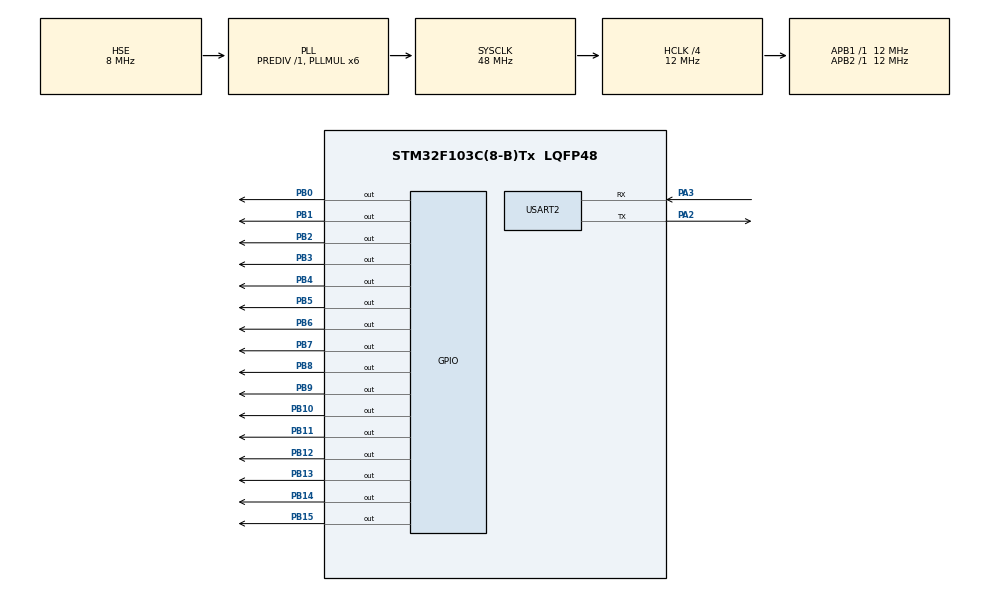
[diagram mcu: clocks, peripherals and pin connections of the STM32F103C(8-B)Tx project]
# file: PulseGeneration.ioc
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Dma.Request0=USART2_TX
Dma.USART2_TX.0.Direction=DMA_MEMORY_TO_PERIPH
Dma.USART2_TX.0.Instance=DMA1_Channel7
Dma.USART2_TX.0.MemDataAlignment=DMA_MDATAALIGN_BYTE
Dma.USART2_TX.0.MemInc=DMA_MINC_ENABLE
Dma.USART2_TX.0.Mode=DMA_NORMAL
Dma.USART2_TX.0.PeriphDataAlignment=DMA_PDATAALIGN_BYTE
Dma.USART2_TX.0.PeriphInc=DMA_PINC_DISABLE
Dma.USART2_TX.0.Priority=DMA_PRIORITY_MEDIUM
IWDG.Prescaler=IWDG_PRESCALER_32
IWDG.Reload=2500
Mcu.Family=STM32F1
Mcu.Name=STM32F103C(8-B)Tx
Mcu.Package=LQFP48
NVIC.DMA1_Channel7_IRQn=true\:0\:0\:false\:false\:true\:false\:true
NVIC.PriorityGroup=NVIC_PRIORITYGROUP_4
NVIC.TIM2_IRQn=true\:0\:0\:false\:false\:true\:true\:true
NVIC.TIM3_IRQn=true\:0\:0\:false\:false\:true\:true\:true
NVIC.TIM4_IRQn=true\:0\:0\:false\:false\:true\:true\:true
NVIC.USART2_IRQn=true\:0\:0\:false\:false\:true\:true\:true
PA13.Mode=Serial_Wire
PA13.Signal=SYS_JTMS-SWDIO
PA14.Mode=Serial_Wire
PA14.Signal=SYS_JTCK-SWCLK
PA2.Mode=Asynchronous
PA2.Signal=USART2_TX
PA3.Mode=Asynchronous
PA3.Signal=USART2_RX
PB0.GPIO_ModeDefaultOutputPP=GPIO_MODE_OUTPUT_OD
PB0.PinState=GPIO_PIN_SET
PB0.Signal=GPIO_Output
PB1.GPIO_ModeDefaultOutputPP=GPIO_MODE_OUTPUT_OD
PB1.PinState=GPIO_PIN_SET
PB1.Signal=GPIO_Output
PB10.GPIO_ModeDefaultOutputPP=GPIO_MODE_OUTPUT_OD
PB10.PinState=GPIO_PIN_SET
PB10.Signal=GPIO_Output
PB11.GPIO_ModeDefaultOutputPP=GPIO_MODE_OUTPUT_OD
PB11.PinState=GPIO_PIN_SET
PB11.Signal=GPIO_Output
PB12.GPIO_ModeDefaultOutputPP=GPIO_MODE_OUTPUT_OD
PB12.PinState=GPIO_PIN_SET
PB12.Signal=GPIO_Output
PB13.GPIO_ModeDefaultOutputPP=GPIO_MODE_OUTPUT_OD
PB13.PinState=GPIO_PIN_SET
PB13.Signal=GPIO_Output
PB14.GPIO_ModeDefaultOutputPP=GPIO_MODE_OUTPUT_OD
PB14.PinState=GPIO_PIN_SET
PB14.Signal=GPIO_Output
PB15.GPIO_ModeDefaultOutputPP=GPIO_MODE_OUTPUT_OD
PB15.PinState=GPIO_PIN_SET
PB15.Signal=GPIO_Output
PB2.GPIO_ModeDefaultOutputPP=GPIO_MODE_OUTPUT_OD
PB2.PinState=GPIO_PIN_SET
PB2.Signal=GPIO_Output
PB3.GPIO_ModeDefaultOutputPP=GPIO_MODE_OUTPUT_OD
PB3.PinState=GPIO_PIN_SET
PB3.Signal=GPIO_Output
PB4.GPIO_ModeDefaultOutputPP=GPIO_MODE_OUTPUT_OD
PB4.PinState=GPIO_PIN_SET
PB4.Signal=GPIO_Output
PB5.GPIO_ModeDefaultOutputPP=GPIO_MODE_OUTPUT_OD
PB5.PinState=GPIO_PIN_SET
PB5.Signal=GPIO_Output
PB6.GPIO_ModeDefaultOutputPP=GPIO_MODE_OUTPUT_OD
PB6.PinState=GPIO_PIN_SET
PB6.Signal=GPIO_Output
PB7.GPIO_ModeDefaultOutputPP=GPIO_MODE_OUTPUT_OD
PB7.PinState=GPIO_PIN_SET
PB7.Signal=GPIO_Output
PB8.GPIO_ModeDefaultOutputPP=GPIO_MODE_OUTPUT_OD
PB8.PinState=GPIO_PIN_SET
PB8.Signal=GPIO_Output
PB9.GPIO_ModeDefaultOutputPP=GPIO_MODE_OUTPUT_OD
PB9.PinState=GPIO_PIN_SET
PB9.Signal=GPIO_Output
PD0-OSC_IN.Mode=HSE-External-Oscillator
PD0-OSC_IN.Signal=RCC_OSC_IN
PD1-OSC_OUT.Mode=HSE-External-Oscillator
PD1-OSC_OUT.Signal=RCC_OSC_OUT
ProjectManager.HeapSize=0x200
ProjectManager.StackSize=0x400
ProjectManager.TargetToolchain=SW4STM32
RCC.AHBCLKDivider=RCC_SYSCLK_DIV4
RCC.AHBFreq_Value=12000000
RCC.APB1Freq_Value=12000000
RCC.APB1TimFreq_Value=12000000
RCC.APB2Freq_Value=12000000
RCC.APB2TimFreq_Value=12000000
RCC.HCLKFreq_Value=12000000
RCC.PLLMUL=RCC_PLL_MUL6
RCC.PLLSourceVirtual=RCC_PLLSOURCE_HSE
RCC.SYSCLKFreq_VALUE=48000000
RCC.SYSCLKSource=RCC_SYSCLKSOURCE_PLLCLK
RCC.USBFreq_Value=48000000
TIM2.Period=1000
TIM2.Prescaler=12-1
TIM3.Period=2000
TIM3.Prescaler=12000-1
TIM4.Period=5000
TIM4.Prescaler=12000-1
USART2.VirtualMode=VM_ASYNC
VP_IWDG_VS_IWDG.Mode=IWDG_Activate
VP_TIM2_VS_ClockSourceINT.Mode=Internal
VP_TIM3_VS_ClockSourceINT.Mode=Internal
VP_TIM4_VS_ClockSourceINT.Mode=Internal
board=custom

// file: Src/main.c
/* USER CODE BEGIN Header */
/**
  ******************************************************************************
  * @file           : main.c
  * @brief          : Main program body
  ******************************************************************************
  * @attention
  *
  * <h2><center>&copy; Copyright (c) 2020 STMicroelectronics.
  * All rights reserved.</center></h2>
  *
  * This software component is licensed by ST under Ultimate Liberty license
  * SLA0044, the "License"; You may not use this file except in compliance with
  * the License. You may obtain a copy of the License at:
  *                             www.st.com/SLA0044
  *
  ******************************************************************************
  */
/* USER CODE END Header */

#include "main.h"
#include "dma.h"
#include "iwdg.h"
#include "tim.h"
#include "usart.h"
#include "gpio.h"

/* USER CODE BEGIN Includes */
#include "Discrets.h"
#include "Fifo.h"
#include "Wrap_Flash.h"
#include "Internal_Flash.h"
#include "Commands.h"
/* USER CODE END Includes */

/* USER CODE BEGIN PM */

#define UART_FIFO_TX_SIZE                                1024
#define UART_FIFO_RX_SIZE                                1024
#define TASK_BEGIN_CRITICAL_SECTION()					 __disable_irq()
#define TASK_END_CRITICAL_SECTION()					 	 __enable_irq()
/* USER CODE END PM */

void SystemClock_Config(void);

/* USER CODE BEGIN 0 */
Fifo_t UartTx, UartRx;
uint8_t UartTxBuffer[UART_FIFO_TX_SIZE];
uint8_t UartRxBuffer[UART_FIFO_RX_SIZE];
uint8_t UartRxSymbol;
extern volatile bool IsStartMeasurement;
volatile uint32_t CounterSemaphore[DISCRETS_OUTPUTS_PINS];
volatile uint32_t CounterStateSemaphore[DISCRETS_OUTPUTS_PINS];
volatile uint8_t DiscretLineState[DISCRETS_OUTPUTS_PINS];
extern volatile FlashMapData_t GlobalStorage;
//volatile uint64_t UserQuantityStateLine[DISCRETS_OUTPUTS_PINS];
/* USER CODE END 0 */

int main(void)
{

  /* MCU Configuration--------------------------------------------------------*/

  /* Reset of all peripherals, Initializes the Flash interface and the Systick. */
  HAL_Init();

  /* Configure the system clock */
  SystemClock_Config();

  /* Initialize all configured peripherals */
  MX_GPIO_Init();
  MX_DMA_Init();
  MX_IWDG_Init();
  MX_TIM2_Init();
  MX_TIM3_Init();
  MX_USART2_UART_Init();
  MX_TIM4_Init();
  /* USER CODE BEGIN 2 */
  InitFifo();
  FlashInit();
  FlashStorageInit();
  StartParser();
  CommandStartMeasurement();
  /* USER CODE END 2 */

  /* Infinite loop */
  while (1)
  {

    /* USER CODE BEGIN 3 */
	  HAL_IWDG_Refresh(&hiwdg);
  }
  /* USER CODE END 3 */
}

void SystemClock_Config(void)
{
  RCC_OscInitTypeDef RCC_OscInitStruct = {0};
  RCC_ClkInitTypeDef RCC_ClkInitStruct = {0};

  /** Initializes the CPU, AHB and APB busses clocks
  */
  RCC_OscInitStruct.OscillatorType = RCC_OSCILLATORTYPE_LSI|RCC_OSCILLATORTYPE_HSE;
  RCC_OscInitStruct.HSEState = RCC_HSE_ON;
  RCC_OscInitStruct.HSEPredivValue = RCC_HSE_PREDIV_DIV1;
  RCC_OscInitStruct.HSIState = RCC_HSI_ON;
  RCC_OscInitStruct.LSIState = RCC_LSI_ON;
  RCC_OscInitStruct.PLL.PLLState = RCC_PLL_ON;
  RCC_OscInitStruct.PLL.PLLSource = RCC_PLLSOURCE_HSE;
  RCC_OscInitStruct.PLL.PLLMUL = RCC_PLL_MUL6;
  if (HAL_RCC_OscConfig(&RCC_OscInitStruct) != HAL_OK)
  {
    Error_Handler();
  }
  /** Initializes the CPU, AHB and APB busses clocks
  */
  RCC_ClkInitStruct.ClockType = RCC_CLOCKTYPE_HCLK|RCC_CLOCKTYPE_SYSCLK
                              |RCC_CLOCKTYPE_PCLK1|RCC_CLOCKTYPE_PCLK2;
  RCC_ClkInitStruct.SYSCLKSource = RCC_SYSCLKSOURCE_PLLCLK;
  RCC_ClkInitStruct.AHBCLKDivider = RCC_SYSCLK_DIV4;
  RCC_ClkInitStruct.APB1CLKDivider = RCC_HCLK_DIV1;
  RCC_ClkInitStruct.APB2CLKDivider = RCC_HCLK_DIV1;

  if (HAL_RCC_ClockConfig(&RCC_ClkInitStruct, FLASH_LATENCY_1) != HAL_OK)
  {
    Error_Handler();
  }
}

/* USER CODE BEGIN 4 */

/**
  * @brief  Period elapsed callback in non-blocking mode
  * @param  htim TIM handle
  * @retval None
  */
void HAL_TIM_PeriodElapsedCallback(TIM_HandleTypeDef *htim)
{
	/* Prevent unused argument(s) compilation warning */
	UNUSED(htim);

	/* NOTE : This function should not be modified, when the callback is needed,
            the HAL_TIM_PeriodElapsedCallback could be implemented in the user file
	 */
	if(htim->Instance == TIM2)
	{
		for (uint8_t NumberLine = 0; NumberLine < DISCRETS_OUTPUTS_PINS; NumberLine++)
			DiscretsHandler(NumberLine);
	}
	else if(htim->Instance == TIM3)
	{
		ResetParser();
		HAL_UART_Receive_IT(&huart2, &UartRxSymbol, 1);
	}
	else if(htim->Instance == TIM4)
	{
		CommandCheckImpulseChannel(NUMBER_DISCRETS_LINE_ALL);
	}
}

/**
  * @brief  Rx Transfer completed callbacks.
  * @param  huart  Pointer to a UART_HandleTypeDef structure that contains
  *                the configuration information for the specified UART module.
  * @retval None
  */
void HAL_UART_RxCpltCallback(UART_HandleTypeDef *huart)
{
	/* Prevent unused argument(s) compilation warning */
	UNUSED(huart);
	/* NOTE: This function should not be modified, when the callback is needed,
           the HAL_UART_RxCpltCallback could be implemented in the user file
	 */

	if(huart->Instance == USART2)
	{
		ParseSymbols(UartRxSymbol);
		HAL_UART_Receive_IT(&huart2, &UartRxSymbol, 1);
	}
}

/*!
 * @brief Start parser timers for work
 */
void StartParser(void)
{
	HAL_UART_Receive_IT(&huart2, &UartRxSymbol, 1);
	HAL_TIM_Base_Start_IT(&htim3);
}

/*!
 * Initial Virtual COM Port buffers
 */
void InitFifo(void)
{
	FifoInit(&UartTx, UartTxBuffer, UART_FIFO_TX_SIZE);
	FifoInit(&UartRx, UartRxBuffer, UART_FIFO_RX_SIZE);
}

/*!
 * Send to Uart with DMA
 */
void UartSend(void)
{
	uint8_t TxMessage[UART_FIFO_TX_SIZE];
	uint16_t Size = UartTx.Count;

	FifoGetBuf(&UartTx, TxMessage, Size);

	HAL_UART_Transmit_DMA(&huart2, TxMessage, Size);
}

/*!
 * Discret's Handler
 */
void DiscretsHandler(uint8_t NumberLine)
{
	if(!GlobalStorage.DiscretLine[NumberLine].IsDiscretLineEnable)
		CounterSemaphore[NumberLine] = 0;
	else
		CounterSemaphore[NumberLine]++;

	if(!GlobalStorage.DiscretLine[NumberLine].IsDiscretLineEnable)
		return;
	else if(CounterStateSemaphore[NumberLine] != GlobalStorage.DiscretLine[NumberLine].QuantityStateLine)
	{
		if((CounterSemaphore[NumberLine] == GlobalStorage.DiscretLine[NumberLine].DelayStep1) &&
			DiscretLineState[NumberLine])
		{
			CounterSemaphore[NumberLine] = 0;
			DiscretLineState[NumberLine] = 0;
			CounterStateSemaphore[NumberLine]++;
			DiscretsToggleLines(NumberLine);
		}
		else if((CounterSemaphore[NumberLine] == GlobalStorage.DiscretLine[NumberLine].DelayStep0) &&
				!DiscretLineState[NumberLine])
		{
			CounterSemaphore[NumberLine] = 0;
			DiscretLineState[NumberLine] = 1;
			DiscretsToggleLines(NumberLine);
		}
	}
	else
		CounterSemaphore[NumberLine] = 0;
}

/* USER CODE END 4 */

void Error_Handler(void)
{
}

/************************ (C) COPYRIGHT STMicroelectronics *****END OF FILE****/
